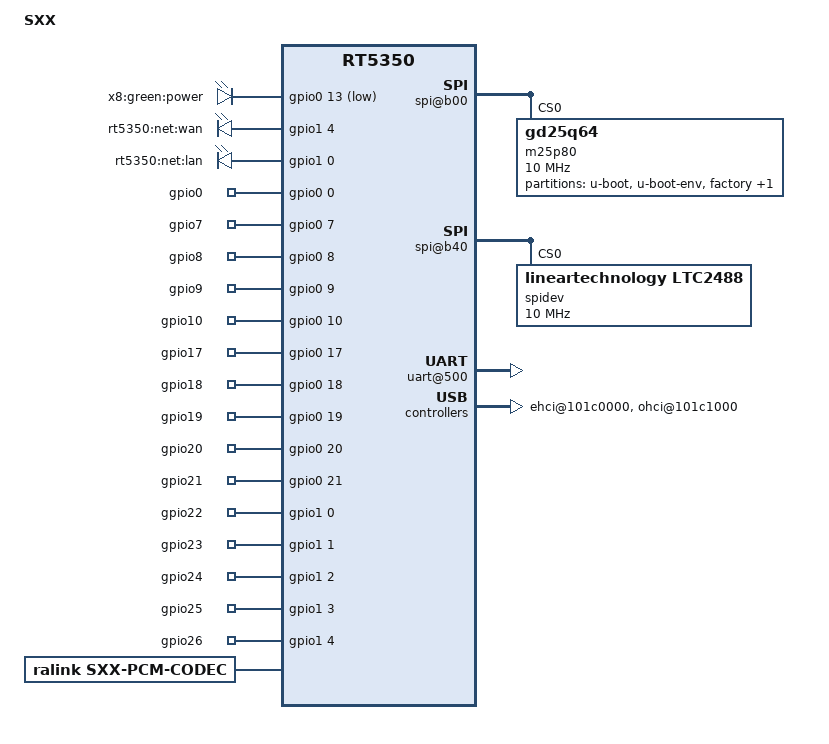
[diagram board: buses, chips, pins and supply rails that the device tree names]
/dts-v1/;

/include/ "rt5350.dtsi"

/ {
	compatible = "SXX", "ralink,rt5350-soc";
	model = "SXX";

	chosen {
		bootargs = "console=ttyS1,57600";
	};
	
	palmbus@10000000 {
		spi@b00 {
			status = "okay";
			m25p80@0 {
				#address-cells = <1>;
				#size-cells = <1>;
				compatible = "gd25q64";
				reg = <0 0>;
				linux,modalias = "m25p80", "gd25q64";
				spi-max-frequency = <10000000>;

				partition@0 {
					label = "u-boot";
					reg = <0x0 0x30000>;
					read-only;
				};

				partition@30000 {
					label = "u-boot-env";
					reg = <0x30000 0x10000>;
					read-only;
				};

				factory: partition@40000 {
					label = "factory";
					reg = <0x40000 0x10000>;
					read-only;
				};

				partition@50000 {
					label = "firmware";
					reg = <0x50000 0>; /* all remaining size */
				};
			};
		};
		spi@b40 {
			status = "okay";

			/* for 2 flash chip to work correctly */
			m25p80@1 {
				status = "disabled";
				#address-cells = <1>;
				#size-cells = <1>;
				compatible = "jedec,spi-nor";
				reg = <0 0>;
				linux,modalias = "m25p80", "s25fl064k";
				spi-max-frequency = <10000000>;

				partition@0 {
					label = "data";
					reg = <0x0 0x0>;
					/*read-only;*/
				};

			};

			spidev@0 {
				compatible_bak = "spidev";
				compatible = "lineartechnology,ltc2488";
				spi-max-frequency = <10000000>;
				reg = <0>;
			};

			/*
			mmc_slot@1 {
				compatible = "mmc-spi-slot";
				reg = <0 0>;
				voltage-ranges = <3300 3300>;
				spi-max-frequency = <10000000>;
				interrupt-parent = <&intc>;
				interrupts = <8>;
			};
			*/
		};

		gpio@660 {
			/* GPIO #22 ~ #27 */
			status = "okay";
		};

//		i2s@a00 {
//			/*status = "okay";*/
//			codec = <&wm8510>;
//		};
		pcm@2000 {
			status = "okay";
		};
		gdma@2800 {
			status = "okay";
		};
		
		uart@500 {
			/* uart to mcu */
			status = "okay";
		};
	};

	pinctrl {
		state_default: pinctrl0 {
			gpio {
				ralink,group = "i2c","jtag";
				ralink,function = "gpio";
			};
            		uartf {
                		ralink,group = "uartf";
                		ralink,function = "pcm gpio";
            		};
			phy_led {
				ralink,group = "led";
				/*ralink,function = "led";*/
				ralink,function = "gpio";
			};
		};
	};
	
	ethernet@10100000 {
		mtd-mac-address = <&factory 0x4>;
	};

	esw@10110000 {
		ralink,portmap = <0x2f>;
		ralink,led_polarity = <1>;
	};

	gpio-leds {
		compatible = "gpio-leds";
		power {
			label = "x8:green:power";
			gpios = <&gpio0 13 1>;
		};
	};
	
	wmac@10180000 {
		ralink,mtd-eeprom = <&factory 0>;
		ralink,led-polarity = <1>;
	};

	ehci@101c0000 {
		status = "okay";
	};

	ohci@101c1000 {
		status = "okay";
	};
    	gpio-export {
		compatible = "gpio-export";
		#size-cells = <0>;

		gpio0 {
			gpio-export,name = "gpio0";
			gpio-export,direction_may_change = <1>;
			gpio-export,output = <1>;
			gpios = <&gpio0 0 0>;
		};

		/* UARTF */
		gpio7 {
			/* UARTF_RTS_N */
			gpio-export,name = "gpio7";
			gpio-export,direction_may_change = <1>;
			gpios = <&gpio0 7 0>;
		};
		gpio8 {
			/* UARTF_TXD */
			gpio-export,name = "gpio8";
			gpio-export,direction_may_change = <1>;
			gpio-export,output = <1>;
			gpios = <&gpio0 8 0>;
		};
		gpio9 {
			/* UARTF_CTS_N */
			gpio-export,name = "gpio9";
			gpio-export,direction_may_change = <1>;
			gpios = <&gpio0 9 0>;
		};
		gpio10 {
			/* UARTF_RXD */
			gpio-export,name = "gpio10";
			gpio-export,direction_may_change = <1>;
			gpios = <&gpio0 10 0>;
		};

		/* JTAG */
		gpio17 {
			/* JTAG_TDO */
			gpio-export,name = "gpio17";
			gpio-export,direction_may_change = <1>;
			gpio-export,output = <1>;
			gpios = <&gpio0 17 0>;
		};
		gpio18 {
			/* JTAG_TDI */
			gpio-export,name = "gpio18";
			gpio-export,direction_may_change = <1>;
			gpio-export,output = <1>;
			gpios = <&gpio0 18 0>;
		};
		gpio19 {
			/* JTAG_TMS */
			gpio-export,name = "gpio19";
			gpio-export,direction_may_change = <1>;
			gpio-export,output = <1>;
			gpios = <&gpio0 19 0>;
		};
		gpio20 {
			/* JTAG_TCLK */
			gpio-export,name = "gpio20";
			gpio-export,direction_may_change = <1>;
			gpio-export,output = <1>;
			gpios = <&gpio0 20 0>;
		};
		gpio21 {
			/* JTAG_TRST_N */
			gpio-export,name = "gpio21";
			gpio-export,direction_may_change = <1>;
			gpios = <&gpio0 21 0>;
		};

		/* ETH LEDs */
		gpio22 {
			/* ETH0_LED */
			gpio-export,name = "gpio22";
			gpio-export,direction_may_change = <1>;
			gpios = <&gpio1 0 0>;
		};
		gpio23 {
			/* ETH1_LED */
			gpio-export,name = "gpio23";
			gpio-export,direction_may_change = <1>;
			gpios = <&gpio1 1 0>;
		};
		gpio24 {
			/* ETH2_LED */
			gpio-export,name = "gpio24";
			gpio-export,direction_may_change = <1>;
			gpios = <&gpio1 2 0>;
		};
		gpio25 {
			/* ETH3_LED */
			gpio-export,name = "gpio25";
			gpio-export,direction_may_change = <1>;
			gpios = <&gpio1 3 0>;
		};
		gpio26 {
			/* ETH4_LED */
			gpio-export,name = "gpio26";
			gpio-export,direction_may_change = <1>;
			gpios = <&gpio1 4 0>;
		};
	};
    
    	codec: sxx-pcm-codec {
		compatible = "ralink,sxx-pcm-codec";
    	};
    
    	sound: sxx-pcm-machine {
        	compatible = "ralink,sxx-pcm-machine";
        	model = "sxx-pcm-machine";
        	cpu-dai = <&pcm>;
        	codec-dai = <&codec>;
    	};
	gpio-leds {
		compatible = "gpio-leds";

		wan {
			label = "rt5350:net:wan";
			gpios = <&gpio1 4 0>; /* GPIO #26 */
			linux,default-trigger = "netdev";
		};

		lan {
			label = "rt5350:net:lan";
			gpios = <&gpio1 0 0>; /* GPIO #22 */
		};
	};
};
